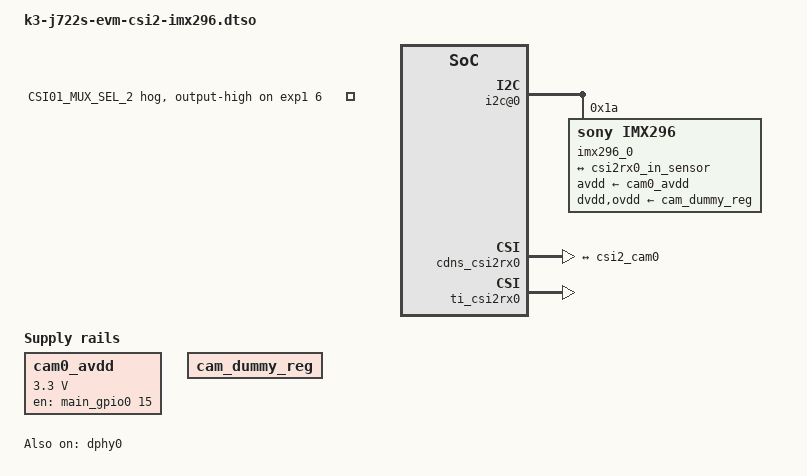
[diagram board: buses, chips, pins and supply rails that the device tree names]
// SPDX-License-Identifier: GPL-2.0
/*
 * Sony IMX296 (global shutter, 1456x1088, 1 MIPI lane) on the J722S EVM camera connector J33
 * (CSI port 0). Modelled on TI's k3-j722s-evm-csi2-quad-rpi-cam-imx219.dtso.
 *
 * Raw pinctrl value: 0x00010007 = PIN_OUTPUT | mux 7 (GPIO). Pad 0x003c is GPMC0_AD0 = GPIO0_15,
 * which the EVM routes to J33 pin 17 (CAM_PWDN). On the Arducam module that pin enables the
 * module's power (regulators and the 54 MHz oscillator), so it is modelled as a fixed regulator
 * with a 500 ms start-up delay, as Raspberry Pi does, not as the sensor's reset line: with
 * reset-gpios the driver waited about 1 ms after raising the pin and the probe failed whenever the
 * module had been off ("invalid device model 0x0000", "failed to get sensor out of standby").
 *
 * The Arducam/Raspberry Pi IMX296 boards carry a 54 MHz oscillator; the driver accepts 37.125, 54 (with the
 * camsync patch) or 74.25 MHz. trigger-mode = <1> puts the sensor in external trigger mode
 * (kernel/0001-media-imx296-external-trigger-mode.patch); exposure is then the XTRIG pulse width.
 */
/dts-v1/;
/plugin/;

&main_pmx0 {
	cam0_reset_pins_default: cam0-reset-default-pins {
		pinctrl-single,pins = <
			0x003c 0x00010007 /* GPMC0_AD0.GPIO0_15  J33.17 CAM_PWDN -> XCLR */
		>;
	};
};

&{/} {
	clk_imx296_fixed: imx296-inck {
		compatible = "fixed-clock";
		#clock-cells = <0>;
		clock-frequency = <54000000>;
	};

	cam0_avdd: regulator-cam0-avdd {
		compatible = "regulator-fixed";
		regulator-name = "cam0_avdd";
		regulator-min-microvolt = <3300000>;
		regulator-max-microvolt = <3300000>;
		pinctrl-names = "default";
		pinctrl-0 = <&cam0_reset_pins_default>;
		gpio = <&main_gpio0 15 0>; /* GPIO_ACTIVE_HIGH: J33.17 high = module powered */
		enable-active-high;
		startup-delay-us = <500000>;
		regulator-always-on; /* the module takes long to come alive: keep it powered from boot, never cycle it */
	};

	cam_dummy_reg: regulator-cam-dummy {
		compatible = "regulator-fixed";
		regulator-name = "cam_dummy";
		regulator-always-on;
	};
};

&exp1 {
	p06-hog {
		/* P06 - CSI01_MUX_SEL_2: route CSI0/CSI1 to the 22-pin flex connectors */
		gpio-hog;
		gpios = <6 0>;
		output-high;
		line-name = "CSI01_MUX_SEL_2";
	};
};

&pca9543_0 {
	#address-cells = <1>;
	#size-cells = <0>;

	i2c-alias-pool = /bits/ 16 <0x1a 0x1b>;

	/* CAM0 I2C, mux port 0 = J33 */
	i2c@0 {
		#address-cells = <1>;
		#size-cells = <0>;
		reg = <0>;

		imx296_0: sensor@1a {
			compatible = "sony,imx296";
			reg = <0x1a>;

			clocks = <&clk_imx296_fixed>;
			clock-names = "inck";

			avdd-supply = <&cam0_avdd>;
			dvdd-supply = <&cam_dummy_reg>;
			ovdd-supply = <&cam_dummy_reg>;

			port {
				csi2_cam0: endpoint {
					remote-endpoint = <&csi2rx0_in_sensor>;
					link-frequencies = /bits/ 64 <594000000>;
					clock-lanes = <0>;
					data-lanes = <1>;
				};
			};
		};
	};
};

&cdns_csi2rx0 {
	ports {
		#address-cells = <1>;
		#size-cells = <0>;

		csi0_port0: port@0 {
			reg = <0>;
			status = "okay";

			csi2rx0_in_sensor: endpoint {
				remote-endpoint = <&csi2_cam0>;
				bus-type = <4>; /* CSI2 DPHY */
				clock-lanes = <0>;
				data-lanes = <1>;
			};
		};
	};
};

&ti_csi2rx0 {
	status = "okay";
};

&dphy0 {
	status = "okay";
};
